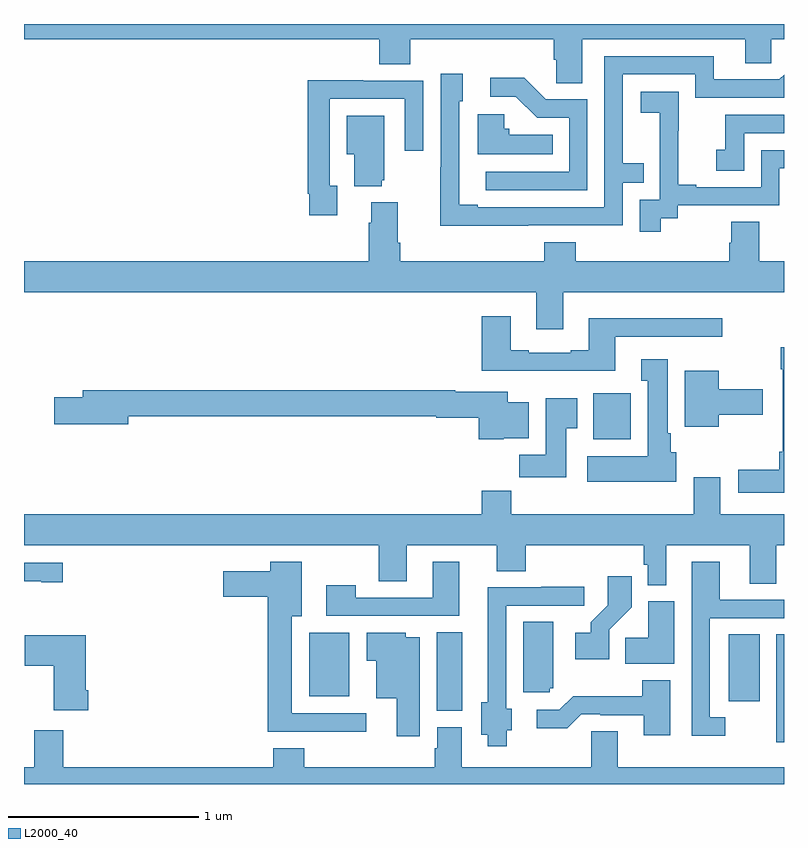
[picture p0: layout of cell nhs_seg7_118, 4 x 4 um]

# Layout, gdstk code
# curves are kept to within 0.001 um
import gdstk
lib = gdstk.Library(unit=1e-6, precision=1e-09)
def R(c, l, rs):  # rectangles x0, y0, x1, y1
    for r in rs: c.add(gdstk.rectangle(r[:2], r[2:], *l))
def P(c, l, *ps):  # polygons
    for p in ps: c.add(gdstk.Polygon(p, *l))
L2000_40 = (2000, 40)

nhs_seg7_118 = lib.new_cell('nhs_seg7_118')
R(nhs_seg7_118, L2000_40, [(122.96,1026.219,123,1026.788), (121.172,1026.385,121.306,1026.8), (122.708,1026.435,122.872,1026.788), (120.5,1026.461,120.712,1026.796), (121.997,1027.814,122.194,1028.056)])
P(nhs_seg7_118, L2000_40, [(121.939,1029.92),(122.795,1029.92),(122.795,1029.793),(122.934,1029.793),(122.934,1029.92),(123,1029.92),(123,1030),(119,1030),(119,1029.92),(120.869,1029.92),(120.869,1029.787),(121.034,1029.787),(121.034,1029.92),(121.787,1029.92),(121.787,1029.811),(121.8,1029.811),(121.8,1029.688),(121.939,1029.688)],
  [(121.655,1028.94),(122.151,1028.94),(122.151,1029.165),(122.261,1029.165),(122.261,1029.266),(122.151,1029.266),(122.151,1029.735),(122.532,1029.735),(122.532,1029.612),(123,1029.612),(123,1029.732),(122.976,1029.708),(122.629,1029.708),(122.629,1029.831),(122.055,1029.831),(122.055,1029.036),(121.387,1029.036),(121.387,1029.049),(121.29,1029.049),(121.29,1029.594),(121.309,1029.594),(121.309,1029.739),(121.194,1029.739),(121.194,1029.245),(121.192,1029.245),(121.192,1028.939)],
  [(121.965,1029.603),(121.746,1029.603),(121.633,1029.716),(121.455,1029.716),(121.455,1029.618),(121.589,1029.618),(121.7,1029.507),(121.869,1029.507),(121.869,1029.222),(121.431,1029.222),(121.431,1029.126),(121.965,1029.126)],
  [(120.649,1029.15),(120.609,1029.15),(120.609,1029.606),(121.005,1029.606),(121.005,1029.333),(121.101,1029.333),(121.101,1029.702),(120.785,1029.702),(120.785,1029.704),(120.493,1029.704),(120.493,1029.106),(120.501,1029.106),(120.501,1028.994),(120.649,1028.994)],
  [(122.35,1028.977),(122.442,1028.977),(122.442,1029.045),(122.976,1029.045),(122.976,1029.24),(123,1029.24),(123,1029.336),(122.88,1029.336),(122.88,1029.141),(122.539,1029.141),(122.539,1029.154),(122.444,1029.154),(122.444,1029.437),(122.445,1029.437),(122.445,1029.643),(122.247,1029.643),(122.247,1029.533),(122.345,1029.533),(122.345,1029.305),(122.346,1029.305),(122.346,1029.075),(122.241,1029.075),(122.241,1028.907),(122.35,1028.907)],
  [(121.784,1029.418),(121.554,1029.418),(121.554,1029.45),(121.527,1029.45),(121.527,1029.526),(121.388,1029.526),(121.388,1029.314),(121.784,1029.314)],
  [(122.79,1029.426),(123,1029.426),(123,1029.522),(122.692,1029.522),(122.692,1029.337),(122.643,1029.337),(122.643,1029.228),(122.79,1029.228)],
  [(120.884,1029.177),(120.895,1029.177),(120.895,1029.517),(120.698,1029.517),(120.698,1029.314),(120.737,1029.314),(120.737,1029.146),(120.884,1029.146)],
  [(121.837,1028.588),(123,1028.588),(123,1028.752),(122.871,1028.752),(122.871,1028.96),(122.723,1028.96),(122.723,1028.85),(122.711,1028.85),(122.711,1028.752),(121.904,1028.752),(121.904,1028.851),(121.739,1028.851),(121.739,1028.752),(120.98,1028.752),(120.98,1028.848),(120.967,1028.848),(120.967,1029.061),(120.827,1029.061),(120.827,1028.954),(120.815,1028.954),(120.815,1028.752),(119,1028.752),(119,1028.588),(121.697,1028.588),(121.697,1028.394),(121.837,1028.394)],
  [(122.113,1028.355),(122.674,1028.355),(122.674,1028.452),(121.973,1028.452),(121.973,1028.284),(121.877,1028.284),(121.877,1028.271),(121.657,1028.271),(121.657,1028.284),(121.561,1028.284),(121.561,1028.461),(121.409,1028.461),(121.409,1028.174),(122.113,1028.174)],
  [(123,1028.299),(122.982,1028.299),(122.982,1028.183),(122.994,1028.183),(122.994,1027.75),(122.974,1027.75),(122.974,1027.654),(122.76,1027.654),(122.76,1027.532),(123,1027.532)],
  [(122.434,1027.746),(122.404,1027.746),(122.404,1027.846),(122.389,1027.846),(122.389,1028.236),(122.249,1028.236),(122.249,1028.123),(122.282,1028.123),(122.282,1027.726),(121.965,1027.726),(121.965,1027.592),(122.434,1027.592)],
  [(122.656,1027.943),(122.887,1027.943),(122.887,1028.078),(122.656,1028.078),(122.656,1028.176),(122.477,1028.176),(122.477,1027.88),(122.656,1027.88)],
  [(121.524,1027.82),(121.657,1027.82),(121.657,1028.008),(121.546,1028.008),(121.546,1028.065),(121.27,1028.065),(121.27,1028.072),(119.309,1028.072),(119.309,1028.036),(119.16,1028.036),(119.16,1027.894),(119.548,1027.894),(119.548,1027.936),(121.17,1027.936),(121.17,1027.928),(121.394,1027.928),(121.394,1027.814),(121.524,1027.814)],
  [(121.855,1027.873),(121.912,1027.873),(121.912,1028.029),(121.745,1028.029),(121.745,1027.732),(121.606,1027.732),(121.606,1027.614),(121.855,1027.614)],
  [(122.38,1027.256),(122.819,1027.256),(122.819,1027.054),(122.959,1027.054),(122.959,1027.256),(123,1027.256),(123,1027.42),(122.665,1027.42),(122.665,1027.615),(122.525,1027.615),(122.525,1027.42),(121.565,1027.42),(121.565,1027.544),(121.409,1027.544),(121.409,1027.42),(119,1027.42),(119,1027.256),(120.868,1027.256),(120.868,1027.066),(121.015,1027.066),(121.015,1027.256),(121.487,1027.256),(121.487,1027.12),(121.64,1027.12),(121.64,1027.256),(122.263,1027.256),(122.263,1027.155),(122.283,1027.155),(122.283,1027.046),(122.38,1027.046)],
  [(122.692,1026.351),(122.61,1026.351),(122.61,1026.873),(123,1026.873),(123,1026.969),(122.662,1026.969),(122.662,1027.171),(122.514,1027.171),(122.514,1026.254),(122.692,1026.254)],
  [(120.802,1026.372),(120.409,1026.372),(120.409,1026.884),(120.463,1026.884),(120.463,1027.171),(120.296,1027.171),(120.296,1027.12),(120.048,1027.12),(120.048,1026.986),(120.284,1026.986),(120.284,1026.275),(120.802,1026.275)],
  [(121.291,1027.171),(121.151,1027.171),(121.151,1026.981),(120.747,1026.981),(120.747,1027.045),(120.591,1027.045),(120.591,1026.885),(121.291,1026.885)],
  [(119.203,1027.164),(119,1027.164),(119,1027.068),(119.09,1027.068),(119.09,1027.063),(119.203,1027.063)],
  [(122.079,1026.811),(122.198,1026.93),(122.198,1027.093),(122.073,1027.093),(122.073,1026.941),(121.982,1026.851),(121.982,1026.796),(121.902,1026.796),(121.902,1026.656),(122.079,1026.656)],
  [(121.54,1026.282),(121.567,1026.282),(121.567,1026.396),(121.539,1026.396),(121.539,1026.939),(121.948,1026.939),(121.948,1027.038),(121.723,1027.038),(121.723,1027.035),(121.442,1027.035),(121.442,1026.43),(121.406,1026.43),(121.406,1026.26),(121.442,1026.26),(121.442,1026.2),(121.54,1026.2)],
  [(122.422,1026.961),(122.285,1026.961),(122.285,1026.77),(122.164,1026.77),(122.164,1026.632),(122.422,1026.632)],
  [(121.767,1026.504),(121.786,1026.504),(121.786,1026.853),(121.628,1026.853),(121.628,1026.483),(121.767,1026.483)],
  [(121.084,1026.772),(121.008,1026.772),(121.008,1026.796),(120.803,1026.796),(120.803,1026.65),(120.854,1026.65),(120.854,1026.452),(120.962,1026.452),(120.962,1026.252),(121.084,1026.252)],
  [(119.339,1026.493),(119.326,1026.493),(119.326,1026.784),(119.004,1026.784),(119.004,1026.622),(119.156,1026.622),(119.156,1026.389),(119.339,1026.389)],
  [(122.401,1026.547),(122.254,1026.547),(122.254,1026.463),(121.891,1026.463),(121.818,1026.39),(121.698,1026.39),(121.698,1026.293),(121.859,1026.293),(121.932,1026.366),(122.032,1026.366),(122.032,1026.363),(122.261,1026.363),(122.261,1026.257),(122.401,1026.257)],
  [(123,1026.088),(122.125,1026.088),(122.125,1026.278),(121.986,1026.278),(121.986,1026.088),(121.303,1026.088),(121.303,1026.3),(121.175,1026.3),(121.175,1026.189),(121.163,1026.189),(121.163,1026.088),(120.476,1026.088),(120.476,1026.187),(120.311,1026.187),(120.311,1026.088),(119.207,1026.088),(119.207,1026.283),(119.054,1026.283),(119.054,1026.088),(119,1026.088),(119,1026),(123,1026)])

lib.write_gds('nhs_seg7_118.gds')
